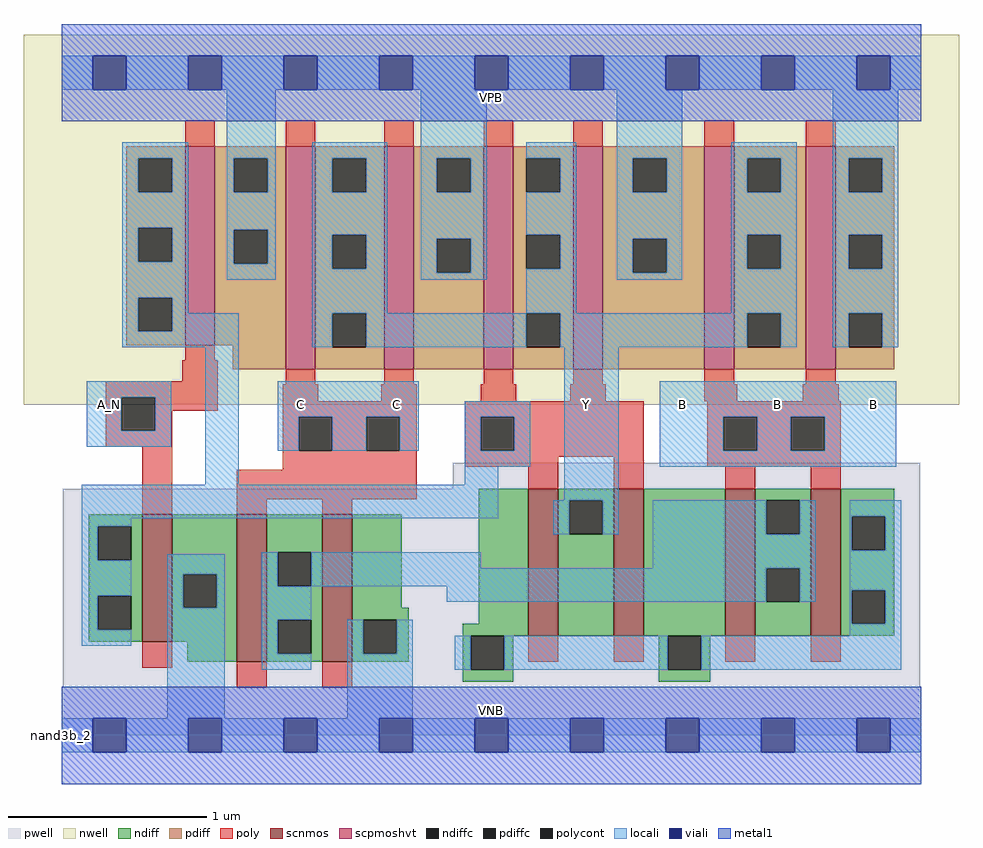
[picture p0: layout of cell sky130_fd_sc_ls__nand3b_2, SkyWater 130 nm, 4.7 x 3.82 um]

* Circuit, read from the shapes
.subckt sky130_fd_sc_ls__nand3b_2 A_N B C VGND VNB VPB VPWR Y
XM1 VGND A_N n1 VNB sky130_fd_pr__nfet_01v8 w=0.64 l=0.15
XM2 n2 C VGND VNB sky130_fd_pr__nfet_01v8 w=0.74 l=0.15 m=2
XM3 Y n1 n3 VNB sky130_fd_pr__nfet_01v8 w=0.74 l=0.15 m=2
XM4 n2 B n3 VNB sky130_fd_pr__nfet_01v8 w=0.74 l=0.15 m=2
XM5 VPWR A_N n1 VPB sky130_fd_pr__pfet_01v8_hvt w=1 l=0.15
XM6 Y C VPWR VPB sky130_fd_pr__pfet_01v8_hvt w=1.12 l=0.15 m=2
XM7 Y n1 VPWR VPB sky130_fd_pr__pfet_01v8_hvt w=1.12 l=0.15 m=2
XM8 Y B VPWR VPB sky130_fd_pr__pfet_01v8_hvt w=1.12 l=0.15 m=2
.ends

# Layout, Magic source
magic
tech sky130A
magscale 1 2
<< nwell >>
rect -38 332 902 704
<< pwell >>
rect 393 248 863 274
rect 1 49 863 248
rect 0 0 864 49
<< scnmos >>
rect 81 94 111 222
rect 176 74 206 222
rect 262 74 292 222
rect 469 100 499 248
rect 555 100 585 248
rect 667 100 697 248
rect 753 100 783 248
<< scpmoshvt >>
rect 124 392 154 592
rect 225 368 255 592
rect 324 368 354 592
rect 424 368 454 592
rect 514 368 544 592
rect 646 368 676 592
rect 748 368 778 592
<< ndiff >>
rect 27 210 81 222
rect 27 176 36 210
rect 70 176 81 210
rect 27 140 81 176
rect 27 106 36 140
rect 70 106 81 140
rect 27 94 81 106
rect 111 162 176 222
rect 111 128 122 162
rect 156 128 176 162
rect 111 94 176 128
rect 126 74 176 94
rect 206 184 262 222
rect 206 150 217 184
rect 251 150 262 184
rect 206 116 262 150
rect 206 82 217 116
rect 251 82 262 116
rect 206 74 262 82
rect 292 128 342 222
rect 292 116 349 128
rect 292 82 303 116
rect 337 82 349 116
rect 419 112 469 248
rect 292 74 349 82
rect 403 100 469 112
rect 499 236 555 248
rect 499 202 510 236
rect 544 202 555 236
rect 499 100 555 202
rect 585 100 667 248
rect 697 236 753 248
rect 697 202 708 236
rect 742 202 753 236
rect 697 168 753 202
rect 697 134 708 168
rect 742 134 753 168
rect 697 100 753 134
rect 783 220 837 248
rect 783 186 794 220
rect 828 186 837 220
rect 783 146 837 186
rect 783 112 794 146
rect 828 112 837 146
rect 783 100 837 112
rect 403 66 411 100
rect 445 66 454 100
rect 403 54 454 66
rect 600 66 609 100
rect 643 66 652 100
rect 600 54 652 66
<< pdiff >>
rect 65 580 124 592
rect 65 546 77 580
rect 111 546 124 580
rect 65 510 124 546
rect 65 476 77 510
rect 111 476 124 510
rect 65 440 124 476
rect 65 406 77 440
rect 111 406 124 440
rect 65 392 124 406
rect 154 580 225 592
rect 154 546 173 580
rect 207 546 225 580
rect 154 508 225 546
rect 154 474 173 508
rect 207 474 225 508
rect 154 392 225 474
rect 172 368 225 392
rect 255 580 324 592
rect 255 546 272 580
rect 306 546 324 580
rect 255 503 324 546
rect 255 469 272 503
rect 306 469 324 503
rect 255 424 324 469
rect 255 390 272 424
rect 306 390 324 424
rect 255 368 324 390
rect 354 580 424 592
rect 354 546 377 580
rect 411 546 424 580
rect 354 499 424 546
rect 354 465 377 499
rect 411 465 424 499
rect 354 368 424 465
rect 454 580 514 592
rect 454 546 467 580
rect 501 546 514 580
rect 454 503 514 546
rect 454 469 467 503
rect 501 469 514 503
rect 454 424 514 469
rect 454 390 467 424
rect 501 390 514 424
rect 454 368 514 390
rect 544 580 646 592
rect 544 546 574 580
rect 608 546 646 580
rect 544 499 646 546
rect 544 465 574 499
rect 608 465 646 499
rect 544 368 646 465
rect 676 580 748 592
rect 676 546 689 580
rect 723 546 748 580
rect 676 503 748 546
rect 676 469 689 503
rect 723 469 748 503
rect 676 424 748 469
rect 676 390 689 424
rect 723 390 748 424
rect 676 368 748 390
rect 778 580 837 592
rect 778 546 791 580
rect 825 546 837 580
rect 778 503 837 546
rect 778 469 791 503
rect 825 469 837 503
rect 778 424 837 469
rect 778 390 791 424
rect 825 390 837 424
rect 778 368 837 390
<< ndiffc >>
rect 36 176 70 210
rect 36 106 70 140
rect 122 128 156 162
rect 217 150 251 184
rect 217 82 251 116
rect 303 82 337 116
rect 510 202 544 236
rect 708 202 742 236
rect 708 134 742 168
rect 794 186 828 220
rect 794 112 828 146
rect 411 66 445 100
rect 609 66 643 100
<< pdiffc >>
rect 77 546 111 580
rect 77 476 111 510
rect 77 406 111 440
rect 173 546 207 580
rect 173 474 207 508
rect 272 546 306 580
rect 272 469 306 503
rect 272 390 306 424
rect 377 546 411 580
rect 377 465 411 499
rect 467 546 501 580
rect 467 469 501 503
rect 467 390 501 424
rect 574 546 608 580
rect 574 465 608 499
rect 689 546 723 580
rect 689 469 723 503
rect 689 390 723 424
rect 791 546 825 580
rect 791 469 825 503
rect 791 390 825 424
<< poly >>
rect 124 592 154 618
rect 225 592 255 618
rect 324 592 354 618
rect 424 592 454 618
rect 514 592 544 618
rect 646 592 676 618
rect 748 592 778 618
rect 124 377 154 392
rect 121 356 157 377
rect 44 340 157 356
rect 225 353 255 368
rect 324 353 354 368
rect 424 353 454 368
rect 514 353 544 368
rect 646 353 676 368
rect 748 353 778 368
rect 44 306 60 340
rect 94 326 157 340
rect 222 336 258 353
rect 321 336 357 353
rect 421 336 457 353
rect 511 336 547 353
rect 646 336 679 353
rect 745 336 781 353
rect 94 306 111 326
rect 44 290 111 306
rect 81 222 111 290
rect 222 320 357 336
rect 222 286 238 320
rect 272 286 306 320
rect 340 286 357 320
rect 222 267 357 286
rect 405 320 585 336
rect 405 286 421 320
rect 455 286 585 320
rect 405 280 585 286
rect 405 270 499 280
rect 176 237 357 267
rect 469 248 499 270
rect 555 248 585 280
rect 649 320 783 336
rect 649 286 665 320
rect 699 286 733 320
rect 767 286 783 320
rect 649 270 783 286
rect 667 248 697 270
rect 753 248 783 270
rect 176 222 206 237
rect 262 222 292 237
rect 81 68 111 94
rect 176 48 206 74
rect 262 48 292 74
rect 469 74 499 100
rect 555 74 585 100
rect 667 74 697 100
rect 753 74 783 100
<< polycont >>
rect 60 306 94 340
rect 238 286 272 320
rect 306 286 340 320
rect 421 286 455 320
rect 665 286 699 320
rect 733 286 767 320
<< locali >>
rect 0 649 31 683
rect 65 649 127 683
rect 161 649 223 683
rect 257 649 319 683
rect 353 649 415 683
rect 449 649 511 683
rect 545 649 607 683
rect 641 649 703 683
rect 737 649 799 683
rect 833 649 864 683
rect 61 580 127 596
rect 61 546 77 580
rect 111 546 127 580
rect 61 510 127 546
rect 61 476 77 510
rect 111 476 127 510
rect 61 440 127 476
rect 166 580 215 649
rect 166 546 173 580
rect 207 546 215 580
rect 166 508 215 546
rect 166 474 173 508
rect 207 474 215 508
rect 166 458 215 474
rect 252 580 327 596
rect 252 546 272 580
rect 306 546 327 580
rect 252 503 327 546
rect 252 469 272 503
rect 306 469 327 503
rect 61 406 77 440
rect 111 424 127 440
rect 252 424 327 469
rect 361 580 427 649
rect 361 546 377 580
rect 411 546 427 580
rect 361 499 427 546
rect 361 465 377 499
rect 411 465 427 499
rect 361 458 427 465
rect 467 580 517 596
rect 501 546 517 580
rect 467 503 517 546
rect 501 469 517 503
rect 467 424 517 469
rect 558 580 624 649
rect 558 546 574 580
rect 608 546 624 580
rect 558 499 624 546
rect 558 465 574 499
rect 608 465 624 499
rect 558 458 624 465
rect 673 580 739 596
rect 673 546 689 580
rect 723 546 739 580
rect 673 503 739 546
rect 673 469 689 503
rect 723 469 739 503
rect 673 424 739 469
rect 111 406 178 424
rect 61 390 178 406
rect 252 390 272 424
rect 306 390 467 424
rect 501 390 689 424
rect 723 390 739 424
rect 775 580 841 649
rect 775 546 791 580
rect 825 546 841 580
rect 775 503 841 546
rect 775 469 791 503
rect 825 469 841 503
rect 775 424 841 469
rect 775 390 791 424
rect 825 390 841 424
rect 25 340 110 356
rect 25 306 60 340
rect 94 306 110 340
rect 25 290 110 306
rect 144 252 178 390
rect 217 320 359 356
rect 217 286 238 320
rect 272 286 306 320
rect 340 286 359 320
rect 405 320 471 336
rect 405 286 421 320
rect 455 286 471 320
rect 405 270 471 286
rect 405 252 439 270
rect 20 218 439 252
rect 505 236 560 390
rect 601 320 839 356
rect 601 286 665 320
rect 699 286 733 320
rect 767 286 839 320
rect 601 270 839 286
rect 20 210 70 218
rect 20 176 36 210
rect 494 202 510 236
rect 544 202 560 236
rect 594 202 708 236
rect 742 202 758 236
rect 20 140 70 176
rect 20 106 36 140
rect 20 90 70 106
rect 106 162 164 182
rect 106 128 122 162
rect 156 128 164 162
rect 106 17 164 128
rect 201 150 217 184
rect 251 168 421 184
rect 594 168 758 202
rect 251 150 708 168
rect 201 116 251 150
rect 387 134 708 150
rect 742 134 758 168
rect 792 220 844 236
rect 792 186 794 220
rect 828 186 844 220
rect 792 146 844 186
rect 201 82 217 116
rect 201 66 251 82
rect 287 82 303 116
rect 337 82 353 116
rect 792 112 794 146
rect 828 112 844 146
rect 792 100 844 112
rect 287 17 353 82
rect 395 66 411 100
rect 445 66 609 100
rect 643 66 844 100
rect 0 -17 31 17
rect 65 -17 127 17
rect 161 -17 223 17
rect 257 -17 319 17
rect 353 -17 415 17
rect 449 -17 511 17
rect 545 -17 607 17
rect 641 -17 703 17
rect 737 -17 799 17
rect 833 -17 864 17
<< viali >>
rect 31 649 65 683
rect 127 649 161 683
rect 223 649 257 683
rect 319 649 353 683
rect 415 649 449 683
rect 511 649 545 683
rect 607 649 641 683
rect 703 649 737 683
rect 799 649 833 683
rect 31 -17 65 17
rect 127 -17 161 17
rect 223 -17 257 17
rect 319 -17 353 17
rect 415 -17 449 17
rect 511 -17 545 17
rect 607 -17 641 17
rect 703 -17 737 17
rect 799 -17 833 17
<< metal1 >>
rect 0 683 864 715
rect 0 649 31 683
rect 65 649 127 683
rect 161 649 223 683
rect 257 649 319 683
rect 353 649 415 683
rect 449 649 511 683
rect 545 649 607 683
rect 641 649 703 683
rect 737 649 799 683
rect 833 649 864 683
rect 0 617 864 649
rect 0 17 864 49
rect 0 -17 31 17
rect 65 -17 127 17
rect 161 -17 223 17
rect 257 -17 319 17
rect 353 -17 415 17
rect 449 -17 511 17
rect 545 -17 607 17
rect 641 -17 703 17
rect 737 -17 799 17
rect 833 -17 864 17
rect 0 -49 864 -17
<< labels >>
rlabel comment s 0 0 0 0 4 nand3b_2
flabel pwell s 0 0 864 49 0 FreeSans 200 0 0 0 VNB
port 5 nsew ground bidirectional
flabel nwell s 0 617 864 666 0 FreeSans 200 0 0 0 VPB
port 6 nsew power bidirectional
flabel metal1 s 0 617 864 666 0 FreeSans 340 0 0 0 VPWR
port 7 nsew power bidirectional abutment
flabel metal1 s 0 0 864 49 0 FreeSans 340 0 0 0 VGND
port 4 nsew ground bidirectional abutment
flabel locali s 511 316 545 350 0 FreeSans 340 0 0 0 Y
port 8 nsew signal output
flabel locali s 31 316 65 350 0 FreeSans 340 0 0 0 A_N
port 1 nsew signal input
flabel locali s 223 316 257 350 0 FreeSans 340 0 0 0 C
port 3 nsew signal input
flabel locali s 319 316 353 350 0 FreeSans 340 0 0 0 C
port 3 nsew signal input
flabel locali s 607 316 641 350 0 FreeSans 340 0 0 0 B
port 2 nsew signal input
flabel locali s 703 316 737 350 0 FreeSans 340 0 0 0 B
port 2 nsew signal input
flabel locali s 799 316 833 350 0 FreeSans 340 0 0 0 B
port 2 nsew signal input
<< properties >>
string LEFsite unit
string LEFclass CORE
string FIXED_BBOX 0 0 864 666
string GDS_FILE $PDKPATH/libs.ref/sky130_fd_sc_ls/gds/sky130_fd_sc_ls.gds
string LEFsymmetry X Y
string GDS_END 2310316
string GDS_START 2302218
<< end >>
